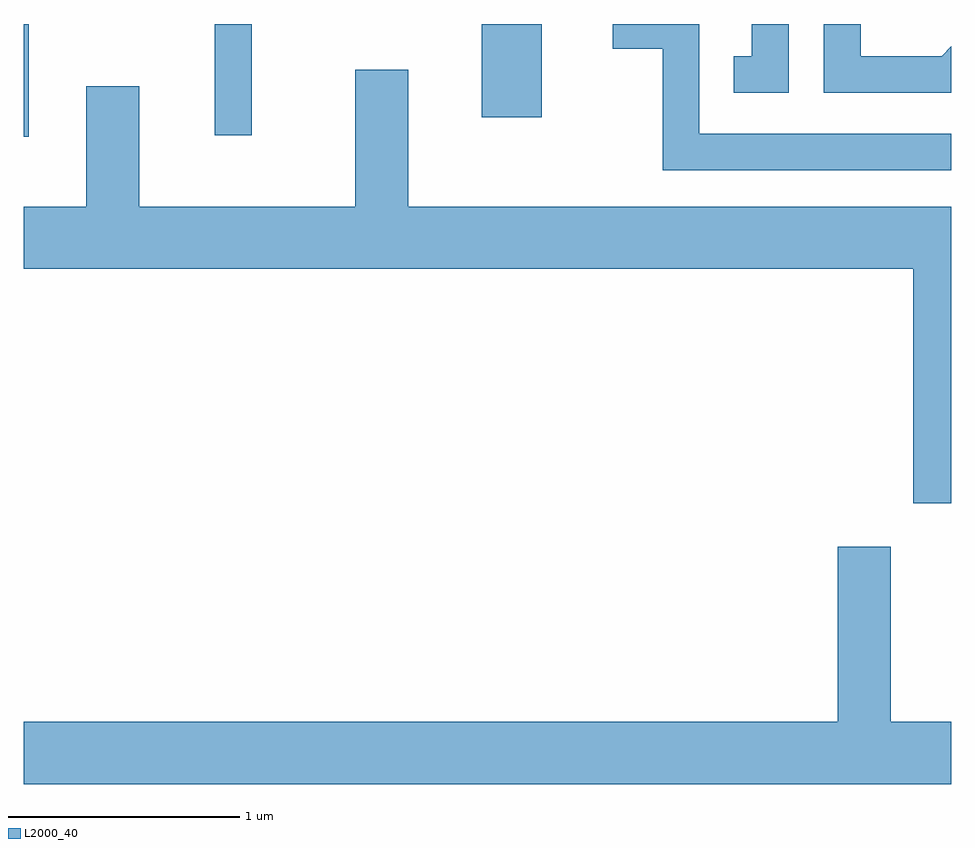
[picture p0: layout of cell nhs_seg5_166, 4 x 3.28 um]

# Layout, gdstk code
import gdstk
lib = gdstk.Library(unit=1e-6, precision=1e-09)
def R(c, l, rs):  # rectangles x0, y0, x1, y1
    for r in rs: c.add(gdstk.rectangle(r[:2], r[2:], *l))
def P(c, l, *ps):  # polygons
    for p in ps: c.add(gdstk.Polygon(p, *l))
L2000_40 = (2000, 40)

nhs_seg5_166 = lib.new_cell('nhs_seg5_166')
R(nhs_seg5_166, L2000_40, [(189.611,1459.586,189.634,1460.072), (190.436,1459.593,190.594,1460.072)])
P(nhs_seg5_166, L2000_40, [(191.844,1460.072),(191.143,1460.072),(191.143,1460.071),(191.586,1460.071),(191.586,1459.671),(191.844,1459.671)],
  [(192.909,1460.072),(192.751,1460.072),(192.751,1459.934),(192.673,1459.934),(192.673,1459.776),(192.909,1459.776)],
  [(193.611,1459.976),(193.569,1459.934),(193.219,1459.934),(193.219,1460.072),(193.061,1460.072),(193.061,1459.776),(193.611,1459.776)],
  [(193.611,1459.599),(192.524,1459.599),(192.524,1460.072),(192.151,1460.072),(192.151,1459.966),(192.366,1459.966),(192.366,1459.441),(193.611,1459.441)],
  [(193.611,1459.284),(191.269,1459.284),(191.269,1459.874),(191.041,1459.874),(191.041,1459.284),(190.109,1459.284),(190.109,1459.804),(189.881,1459.804),(189.881,1459.284),(189.611,1459.284),(189.611,1459.016),(193.446,1459.016),(193.446,1458.006),(193.611,1458.006)],
  [(193.611,1457.064),(193.349,1457.064),(193.349,1457.819),(193.121,1457.819),(193.121,1457.064),(189.611,1457.064),(189.611,1456.796),(193.611,1456.796)])

lib.write_gds('nhs_seg5_166.gds')
